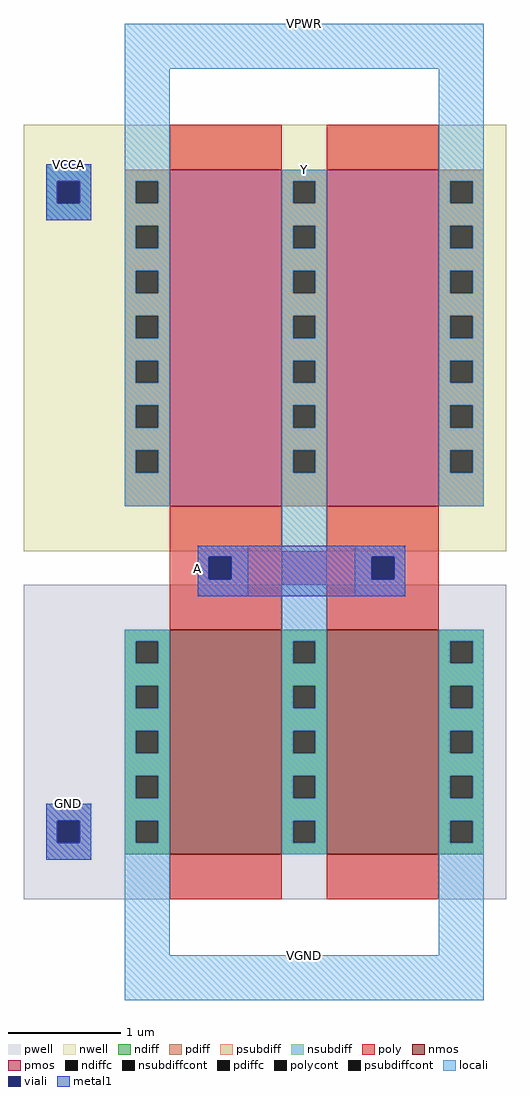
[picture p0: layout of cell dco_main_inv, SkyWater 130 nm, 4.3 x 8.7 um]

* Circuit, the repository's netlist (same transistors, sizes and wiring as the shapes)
* NGSPICE file created from dco_main_inv.ext - technology: sky130A

.subckt dco_main_inv VPWR VCCA Y GND VGND A
X0 Y A VGND GND sky130_fd_pr__nfet_01v8 ad=0.4 pd=2.4 as=0.8 ps=4.8 w=2 l=1 M=2
X1 VPWR A Y VCCA sky130_fd_pr__pfet_01v8 ad=1.2 pd=6.8 as=0.6 ps=3.4 w=3 l=1 M=2
.ends

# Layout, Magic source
magic
tech sky130A
<< nwell >>
rect -130 -40 300 340
<< pwell >>
rect -130 -350 300 -70
<< nmos >>
rect 0 -310 100 -110
rect 140 -310 240 -110
<< pmos >>
rect 0 0 100 300
rect 140 0 240 300
<< ndiff >>
rect -40 -120 0 -110
rect -40 -140 -30 -120
rect -10 -140 0 -120
rect -40 -160 0 -140
rect -40 -180 -30 -160
rect -10 -180 0 -160
rect -40 -200 0 -180
rect -40 -220 -30 -200
rect -10 -220 0 -200
rect -40 -240 0 -220
rect -40 -260 -30 -240
rect -10 -260 0 -240
rect -40 -280 0 -260
rect -40 -300 -30 -280
rect -10 -300 0 -280
rect -40 -310 0 -300
rect 100 -120 140 -110
rect 100 -140 110 -120
rect 130 -140 140 -120
rect 100 -160 140 -140
rect 100 -180 110 -160
rect 130 -180 140 -160
rect 100 -200 140 -180
rect 100 -220 110 -200
rect 130 -220 140 -200
rect 100 -240 140 -220
rect 100 -260 110 -240
rect 130 -260 140 -240
rect 100 -280 140 -260
rect 100 -300 110 -280
rect 130 -300 140 -280
rect 100 -310 140 -300
rect 240 -120 280 -110
rect 240 -140 250 -120
rect 270 -140 280 -120
rect 240 -160 280 -140
rect 240 -180 250 -160
rect 270 -180 280 -160
rect 240 -200 280 -180
rect 240 -220 250 -200
rect 270 -220 280 -200
rect 240 -240 280 -220
rect 240 -260 250 -240
rect 270 -260 280 -240
rect 240 -280 280 -260
rect 240 -300 250 -280
rect 270 -300 280 -280
rect 240 -310 280 -300
<< pdiff >>
rect -40 290 0 300
rect -40 270 -30 290
rect -10 270 0 290
rect -40 250 0 270
rect -40 230 -30 250
rect -10 230 0 250
rect -40 210 0 230
rect -40 190 -30 210
rect -10 190 0 210
rect -40 170 0 190
rect -40 150 -30 170
rect -10 150 0 170
rect -40 130 0 150
rect -40 110 -30 130
rect -10 110 0 130
rect -40 90 0 110
rect -40 70 -30 90
rect -10 70 0 90
rect -40 50 0 70
rect -40 30 -30 50
rect -10 30 0 50
rect -40 0 0 30
rect 100 290 140 300
rect 100 270 110 290
rect 130 270 140 290
rect 100 250 140 270
rect 100 230 110 250
rect 130 230 140 250
rect 100 210 140 230
rect 100 190 110 210
rect 130 190 140 210
rect 100 170 140 190
rect 100 150 110 170
rect 130 150 140 170
rect 100 130 140 150
rect 100 110 110 130
rect 130 110 140 130
rect 100 90 140 110
rect 100 70 110 90
rect 130 70 140 90
rect 100 50 140 70
rect 100 30 110 50
rect 130 30 140 50
rect 100 0 140 30
rect 240 290 280 300
rect 240 270 250 290
rect 270 270 280 290
rect 240 250 280 270
rect 240 230 250 250
rect 270 230 280 250
rect 240 210 280 230
rect 240 190 250 210
rect 270 190 280 210
rect 240 170 280 190
rect 240 150 250 170
rect 270 150 280 170
rect 240 130 280 150
rect 240 110 250 130
rect 270 110 280 130
rect 240 90 280 110
rect 240 70 250 90
rect 270 70 280 90
rect 240 50 280 70
rect 240 30 250 50
rect 270 30 280 50
rect 240 0 280 30
<< ndiffc >>
rect -30 -140 -10 -120
rect -30 -180 -10 -160
rect -30 -220 -10 -200
rect -30 -260 -10 -240
rect -30 -300 -10 -280
rect 110 -140 130 -120
rect 110 -180 130 -160
rect 110 -220 130 -200
rect 110 -260 130 -240
rect 110 -300 130 -280
rect 250 -140 270 -120
rect 250 -180 270 -160
rect 250 -220 270 -200
rect 250 -260 270 -240
rect 250 -300 270 -280
<< pdiffc >>
rect -30 270 -10 290
rect -30 230 -10 250
rect -30 190 -10 210
rect -30 150 -10 170
rect -30 110 -10 130
rect -30 70 -10 90
rect -30 30 -10 50
rect 110 270 130 290
rect 110 230 130 250
rect 110 190 130 210
rect 110 150 130 170
rect 110 110 130 130
rect 110 70 130 90
rect 110 30 130 50
rect 250 270 270 290
rect 250 230 270 250
rect 250 190 270 210
rect 250 150 270 170
rect 250 110 270 130
rect 250 70 270 90
rect 250 30 270 50
<< psubdiff >>
rect -110 -280 -70 -265
rect -110 -300 -100 -280
rect -80 -300 -70 -280
rect -110 -315 -70 -300
<< nsubdiff >>
rect -110 290 -70 305
rect -110 270 -100 290
rect -80 270 -70 290
rect -110 255 -70 270
<< psubdiffcont >>
rect -100 -300 -80 -280
<< nsubdiffcont >>
rect -100 270 -80 290
<< poly >>
rect 0 300 100 340
rect 140 300 240 340
rect 0 -40 100 0
rect 140 -40 240 0
rect 0 -45 240 -40
rect 0 -65 35 -45
rect 55 -65 180 -45
rect 200 -65 240 -45
rect 0 -70 240 -65
rect 0 -110 100 -70
rect 140 -110 240 -70
rect 0 -350 100 -310
rect 140 -350 240 -310
<< polycont >>
rect 35 -65 55 -45
rect 180 -65 200 -45
<< locali >>
rect -40 390 280 430
rect -110 290 -70 305
rect -110 270 -100 290
rect -80 270 -70 290
rect -110 255 -70 270
rect -40 290 0 390
rect -40 270 -30 290
rect -10 270 0 290
rect -40 250 0 270
rect -40 230 -30 250
rect -10 230 0 250
rect -40 210 0 230
rect -40 190 -30 210
rect -10 190 0 210
rect -40 170 0 190
rect -40 150 -30 170
rect -10 150 0 170
rect -40 130 0 150
rect -40 110 -30 130
rect -10 110 0 130
rect -40 90 0 110
rect -40 70 -30 90
rect -10 70 0 90
rect -40 50 0 70
rect -40 30 -30 50
rect -10 30 0 50
rect -40 0 0 30
rect 100 290 140 300
rect 100 270 110 290
rect 130 270 140 290
rect 100 250 140 270
rect 100 230 110 250
rect 130 230 140 250
rect 100 210 140 230
rect 100 190 110 210
rect 130 190 140 210
rect 100 170 140 190
rect 100 150 110 170
rect 130 150 140 170
rect 100 130 140 150
rect 100 110 110 130
rect 130 110 140 130
rect 100 90 140 110
rect 100 70 110 90
rect 130 70 140 90
rect 100 50 140 70
rect 100 30 110 50
rect 130 30 140 50
rect 25 -45 70 -35
rect 25 -65 35 -45
rect 55 -65 70 -45
rect 25 -80 70 -65
rect -40 -120 0 -110
rect -40 -140 -30 -120
rect -10 -140 0 -120
rect -40 -160 0 -140
rect -40 -180 -30 -160
rect -10 -180 0 -160
rect -40 -200 0 -180
rect -40 -220 -30 -200
rect -10 -220 0 -200
rect -40 -240 0 -220
rect -40 -260 -30 -240
rect -10 -260 0 -240
rect -110 -280 -70 -265
rect -110 -300 -100 -280
rect -80 -300 -70 -280
rect -110 -315 -70 -300
rect -40 -280 0 -260
rect -40 -300 -30 -280
rect -10 -300 0 -280
rect -40 -400 0 -300
rect 100 -120 140 30
rect 240 290 280 390
rect 240 270 250 290
rect 270 270 280 290
rect 240 250 280 270
rect 240 230 250 250
rect 270 230 280 250
rect 240 210 280 230
rect 240 190 250 210
rect 270 190 280 210
rect 240 170 280 190
rect 240 150 250 170
rect 270 150 280 170
rect 240 130 280 150
rect 240 110 250 130
rect 270 110 280 130
rect 240 90 280 110
rect 240 70 250 90
rect 270 70 280 90
rect 240 50 280 70
rect 240 30 250 50
rect 270 30 280 50
rect 240 0 280 30
rect 165 -45 210 -35
rect 165 -65 180 -45
rect 200 -65 210 -45
rect 165 -80 210 -65
rect 100 -140 110 -120
rect 130 -140 140 -120
rect 100 -160 140 -140
rect 100 -180 110 -160
rect 130 -180 140 -160
rect 100 -200 140 -180
rect 100 -220 110 -200
rect 130 -220 140 -200
rect 100 -240 140 -220
rect 100 -260 110 -240
rect 130 -260 140 -240
rect 100 -280 140 -260
rect 100 -300 110 -280
rect 130 -300 140 -280
rect 100 -310 140 -300
rect 240 -120 280 -110
rect 240 -140 250 -120
rect 270 -140 280 -120
rect 240 -160 280 -140
rect 240 -180 250 -160
rect 270 -180 280 -160
rect 240 -200 280 -180
rect 240 -220 250 -200
rect 270 -220 280 -200
rect 240 -240 280 -220
rect 240 -260 250 -240
rect 270 -260 280 -240
rect 240 -280 280 -260
rect 240 -300 250 -280
rect 270 -300 280 -280
rect 240 -400 280 -300
rect -40 -440 280 -400
<< viali >>
rect -100 270 -80 290
rect 35 -65 55 -45
rect -100 -300 -80 -280
rect 180 -65 200 -45
<< metal1 >>
rect -110 290 -70 305
rect -110 270 -100 290
rect -80 270 -70 290
rect -110 255 -70 270
rect 25 -45 210 -35
rect 25 -65 35 -45
rect 55 -65 180 -45
rect 200 -65 210 -45
rect 25 -80 210 -65
rect -110 -280 -70 -265
rect -110 -300 -100 -280
rect -80 -300 -70 -280
rect -110 -315 -70 -300
<< labels >>
rlabel locali 120 430 120 430 1 VPWR
port 1 n
rlabel metal1 -90 305 -90 305 1 VCCA
port 2 n
rlabel locali 120 300 120 300 1 Y
port 3 n
rlabel metal1 -90 -265 -90 -265 1 GND
port 4 n
rlabel locali 120 -400 120 -400 1 VGND
port 5 n
rlabel metal1 25 -55 25 -55 7 A
port 6 w
<< end >>
